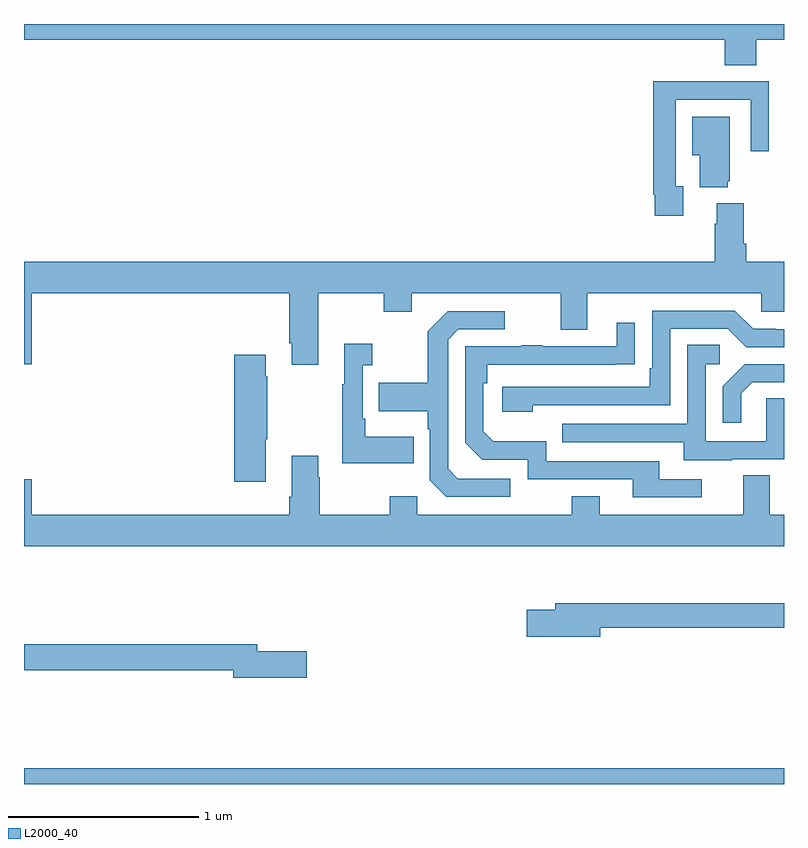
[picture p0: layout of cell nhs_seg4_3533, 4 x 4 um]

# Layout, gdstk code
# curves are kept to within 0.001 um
import gdstk
lib = gdstk.Library(unit=1e-6, precision=1e-09)
def R(c, l, rs):  # rectangles x0, y0, x1, y1
    for r in rs: c.add(gdstk.rectangle(r[:2], r[2:], *l))
def P(c, l, *ps):  # polygons
    for p in ps: c.add(gdstk.Polygon(p, *l))
L2000_40 = (2000, 40)

nhs_seg4_3533 = lib.new_cell('nhs_seg4_3533')
R(nhs_seg4_3533, L2000_40, [(297,796.9,301,796.984)])
P(nhs_seg4_3533, L2000_40, [(300.854,800.816),(301,800.816),(301,800.9),(297,800.9),(297,800.816),(300.689,800.816),(300.689,800.683),(300.854,800.683)],
  [(300.469,800.046),(300.429,800.046),(300.429,800.502),(300.825,800.502),(300.825,800.229),(300.921,800.229),(300.921,800.598),(300.605,800.598),(300.605,800.6),(300.313,800.6),(300.313,800.002),(300.321,800.002),(300.321,799.89),(300.469,799.89)],
  [(300.704,800.073),(300.715,800.073),(300.715,800.413),(300.518,800.413),(300.518,800.21),(300.557,800.21),(300.557,800.042),(300.704,800.042)],
  [(298.549,799.484),(298.894,799.484),(298.894,799.385),(299.041,799.385),(299.041,799.484),(299.825,799.484),(299.825,799.29),(299.965,799.29),(299.965,799.484),(300.879,799.484),(300.879,799.386),(301,799.386),(301,799.648),(300.8,799.648),(300.8,799.744),(300.787,799.744),(300.787,799.957),(300.647,799.957),(300.647,799.85),(300.635,799.85),(300.635,799.648),(297,799.648),(297,799.11),(297.04,799.11),(297.04,799.484),(298.397,799.484),(298.397,799.219),(298.409,799.219),(298.409,799.107),(298.549,799.107)],
  [(299.678,798.894),(300.402,798.894),(300.402,799.296),(300.705,799.296),(300.801,799.2),(301,799.2),(301,799.293),(300.956,799.293),(300.956,799.296),(300.837,799.296),(300.741,799.392),(300.306,799.392),(300.306,799.087),(300.293,799.087),(300.293,798.99),(299.517,798.99),(299.517,798.86),(299.678,798.86)],
  [(299.56,798.507),(299.283,798.507),(299.232,798.558),(299.232,799.239),(299.286,799.293),(299.53,799.293),(299.53,799.389),(299.229,799.389),(299.124,799.283),(299.124,799.011),(298.867,799.011),(298.867,798.863),(299.124,798.863),(299.124,798.767),(299.136,798.767),(299.136,798.498),(299.223,798.411),(299.56,798.411)],
  [(300.568,798.504),(300.343,798.504),(300.343,798.6),(299.748,798.6),(299.748,798.703),(299.471,798.703),(299.418,798.756),(299.418,799.01),(299.438,799.01),(299.438,799.107),(300.215,799.108),(300.215,799.327),(300.119,799.327),(300.119,799.203),(299.729,799.203),(299.729,799.208),(299.617,799.208),(299.617,799.203),(299.322,799.203),(299.322,798.696),(299.412,798.606),(299.652,798.606),(299.652,798.504),(300.203,798.504),(300.203,798.408),(300.568,798.408)],
  [(299.051,798.727),(298.795,798.727),(298.795,798.823),(298.782,798.823),(298.782,799.103),(298.834,799.103),(298.834,799.216),(298.685,799.216),(298.685,799.003),(298.674,799.003),(298.674,798.587),(299.051,798.587)],
  [(300.727,798.609),(301,798.609),(301,798.929),(300.906,798.929),(300.906,798.705),(300.588,798.705),(300.588,799.11),(300.661,799.11),(300.661,799.211),(300.492,799.211),(300.492,798.795),(299.833,798.795),(299.833,798.699),(300.473,798.699),(300.473,798.605),(300.727,798.605)],
  [(298.273,798.715),(298.281,798.715),(298.281,799.046),(298.273,799.046),(298.273,799.159),(298.106,799.159),(298.106,798.492),(298.273,798.492)],
  [(300.775,798.957),(300.832,799.014),(301,799.014),(301,799.11),(300.794,799.11),(300.678,798.994),(300.678,798.801),(300.775,798.801)],
  [(301,798.316),(300.925,798.316),(300.925,798.524),(300.785,798.524),(300.785,798.316),(300.031,798.316),(300.031,798.415),(299.884,798.415),(299.884,798.316),(299.07,798.316),(299.07,798.415),(298.924,798.415),(298.924,798.316),(298.557,798.316),(298.557,798.515),(298.549,798.515),(298.549,798.628),(298.409,798.628),(298.409,798.412),(298.397,798.412),(298.397,798.316),(297.04,798.316),(297.04,798.505),(297,798.505),(297,798.152),(301,798.152)],
  [(300.034,797.722),(301,797.722),(301,797.851),(299.795,797.851),(299.795,797.817),(299.646,797.817),(299.646,797.675),(300.034,797.675)],
  [(298.489,797.6),(298.228,797.6),(298.228,797.636),(297,797.636),(297,797.5),(298.1,797.5),(298.1,797.458),(298.489,797.458)])

lib.write_gds('nhs_seg4_3533.gds')
